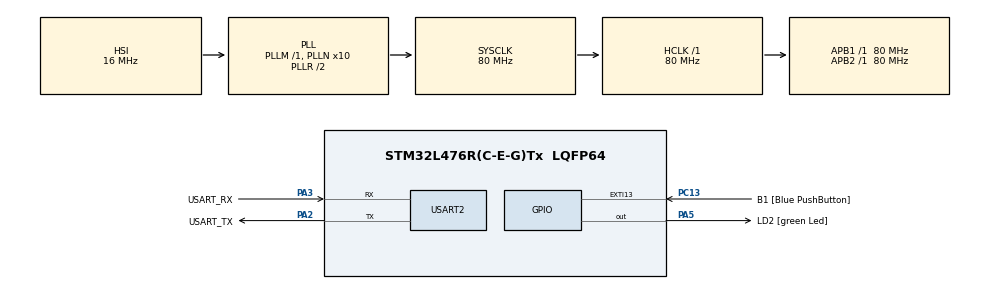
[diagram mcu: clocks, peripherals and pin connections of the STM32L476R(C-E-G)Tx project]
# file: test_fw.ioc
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Mcu.Family=STM32L4
Mcu.Name=STM32L476R(C-E-G)Tx
Mcu.Package=LQFP64
NVIC.PriorityGroup=NVIC_PRIORITYGROUP_4
PA13\ (JTMS-SWDIO).GPIO_Label=TMS
PA13\ (JTMS-SWDIO).Mode=Serial_Wire
PA13\ (JTMS-SWDIO).Signal=SYS_JTMS-SWDIO
PA14\ (JTCK-SWCLK).GPIO_Label=TCK
PA14\ (JTCK-SWCLK).Mode=Serial_Wire
PA14\ (JTCK-SWCLK).Signal=SYS_JTCK-SWCLK
PA2.GPIO_Label=USART_TX
PA2.GPIO_Mode=GPIO_MODE_AF_PP
PA2.GPIO_PuPd=GPIO_NOPULL
PA2.GPIO_Speed=GPIO_SPEED_FREQ_VERY_HIGH
PA2.Mode=Asynchronous
PA2.Signal=USART2_TX
PA3.GPIO_Label=USART_RX
PA3.GPIO_Mode=GPIO_MODE_AF_PP
PA3.GPIO_PuPd=GPIO_NOPULL
PA3.GPIO_Speed=GPIO_SPEED_FREQ_VERY_HIGH
PA3.Mode=Asynchronous
PA3.Signal=USART2_RX
PA5.GPIO_Label=LD2 [green Led]
PA5.GPIO_ModeDefaultOutputPP=GPIO_MODE_OUTPUT_PP
PA5.GPIO_PuPd=GPIO_NOPULL
PA5.GPIO_Speed=GPIO_SPEED_FREQ_LOW
PA5.Signal=GPIO_Output
PB3\ (JTDO-TRACESWO).GPIO_Label=SWO
PB3\ (JTDO-TRACESWO).Signal=SYS_JTDO-SWO
PC13.GPIO_Label=B1 [Blue PushButton]
PC13.GPIO_ModeDefaultEXTI=GPIO_MODE_IT_FALLING
PC13.GPIO_PuPd=GPIO_NOPULL
PC13.Signal=GPXTI13
PC14-OSC32_IN\ (PC14).Mode=LSE-External-Oscillator
PC14-OSC32_IN\ (PC14).Signal=RCC_OSC32_IN
PC15-OSC32_OUT\ (PC15).Mode=LSE-External-Oscillator
PC15-OSC32_OUT\ (PC15).Signal=RCC_OSC32_OUT
PH0-OSC_IN\ (PH0).Signal=RCC_OSC_IN
PH1-OSC_OUT\ (PH1).Signal=RCC_OSC_OUT
ProjectManager.HeapSize=0x200
ProjectManager.StackSize=0x400
ProjectManager.TargetToolchain=STM32CubeIDE
RCC.ADCFreq_Value=64000000
RCC.AHBFreq_Value=80000000
RCC.APB1Freq_Value=80000000
RCC.APB1TimFreq_Value=80000000
RCC.APB2Freq_Value=80000000
RCC.APB2TimFreq_Value=80000000
RCC.CortexFreq_Value=80000000
RCC.HCLKFreq_Value=80000000
RCC.HSE_VALUE=8000000
RCC.HSI_VALUE=16000000
RCC.MSI_VALUE=4000000
RCC.PLLN=10
RCC.PLLSourceVirtual=RCC_PLLSOURCE_HSI
RCC.PREFETCH_ENABLE=1
RCC.SYSCLKFreq_VALUE=80000000
RCC.SYSCLKSource=RCC_SYSCLKSOURCE_PLLCLK
RCC.USBFreq_Value=64000000
RCC.VCOOutputFreq_Value=160000000
USART2.VirtualMode-Asynchronous=VM_ASYNC
board=NUCLEO-L476RG

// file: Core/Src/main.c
/* USER CODE BEGIN Header */
/**
  ******************************************************************************
  * @file           : main.c
  * @brief          : Main program body
  ******************************************************************************
  * @attention
  *
  * <h2><center>&copy; Copyright (c) 2024 STMicroelectronics.
  * All rights reserved.</center></h2>
  *
  * This software component is licensed by ST under BSD 3-Clause license,
  * the "License"; You may not use this file except in compliance with the
  * License. You may obtain a copy of the License at:
  *                        opensource.org/licenses/BSD-3-Clause
  *
  ******************************************************************************
  */
/* USER CODE END Header */
#include "main.h"

UART_HandleTypeDef huart2;

void SystemClock_Config(void);
static void MX_GPIO_Init(void);
static void MX_USART2_UART_Init(void);

/* USER CODE BEGIN 0 */

void __attribute__((__section__(".mysection"))) protected_function(void)
{
	__HAL_FIREWALL_PREARM_DISABLE();
	Toggle_led();
	__HAL_FIREWALL_PREARM_ENABLE();

}

void __attribute__((__section__(".mysection"))) Toggle_led (void)
{
	uint32_t odr;

	/* get current Ouput Data Register value */
	odr = GPIOA->ODR;
	/* Set selected pins that were at low level, and reset ones that were high */
	GPIOA->BSRR = ((odr & GPIO_PIN_5) << 16u) | (~odr & GPIO_PIN_5);
}
/* USER CODE END 0 */

int main(void)
{

  /* MCU Configuration--------------------------------------------------------*/

  /* Reset of all peripherals, Initializes the Flash interface and the Systick. */
  HAL_Init();

  /* Configure the system clock */
  SystemClock_Config();

  /* Initialize all configured peripherals */
  MX_GPIO_Init();
  MX_USART2_UART_Init();
  /* USER CODE BEGIN 2 */
  {
	  FIREWALL_InitTypeDef fw_init;
	  fw_init.CodeSegmentStartAddress = 0x080fc000;
	  fw_init.CodeSegmentLength = 0x2000;

	  fw_init.NonVDataSegmentStartAddress = 0x080fe000;
	  fw_init.NonVDataSegmentLength = 0x200;

	  fw_init.VDataSegmentStartAddress = 0x2000FE00;
	  fw_init.VDataSegmentLength = 0x200;

	  HAL_FIREWALL_Config(&fw_init);

	  HAL_FIREWALL_EnableFirewall();
  }
  /* USER CODE END 2 */

  /* Infinite loop */
  while (1)
  {

    /* USER CODE BEGIN 3 */
	  // after running this code with enabling firewall
	  // comment protected_function()
	  // call Toggle_led outside protected_function
	  // it should not be toggled
	__disable_irq();
	protected_function();
	__enable_irq();
	HAL_Delay(500);
  }
  /* USER CODE END 3 */
}

void SystemClock_Config(void)
{
  RCC_OscInitTypeDef RCC_OscInitStruct = {0};
  RCC_ClkInitTypeDef RCC_ClkInitStruct = {0};
  RCC_PeriphCLKInitTypeDef PeriphClkInit = {0};

  /** Initializes the RCC Oscillators according to the specified parameters
  * in the RCC_OscInitTypeDef structure.
  */
  RCC_OscInitStruct.OscillatorType = RCC_OSCILLATORTYPE_HSI;
  RCC_OscInitStruct.HSIState = RCC_HSI_ON;
  RCC_OscInitStruct.HSICalibrationValue = RCC_HSICALIBRATION_DEFAULT;
  RCC_OscInitStruct.PLL.PLLState = RCC_PLL_ON;
  RCC_OscInitStruct.PLL.PLLSource = RCC_PLLSOURCE_HSI;
  RCC_OscInitStruct.PLL.PLLM = 1;
  RCC_OscInitStruct.PLL.PLLN = 10;
  RCC_OscInitStruct.PLL.PLLP = RCC_PLLP_DIV7;
  RCC_OscInitStruct.PLL.PLLQ = RCC_PLLQ_DIV2;
  RCC_OscInitStruct.PLL.PLLR = RCC_PLLR_DIV2;
  if (HAL_RCC_OscConfig(&RCC_OscInitStruct) != HAL_OK)
  {
    Error_Handler();
  }
  /** Initializes the CPU, AHB and APB buses clocks
  */
  RCC_ClkInitStruct.ClockType = RCC_CLOCKTYPE_HCLK|RCC_CLOCKTYPE_SYSCLK
                              |RCC_CLOCKTYPE_PCLK1|RCC_CLOCKTYPE_PCLK2;
  RCC_ClkInitStruct.SYSCLKSource = RCC_SYSCLKSOURCE_PLLCLK;
  RCC_ClkInitStruct.AHBCLKDivider = RCC_SYSCLK_DIV1;
  RCC_ClkInitStruct.APB1CLKDivider = RCC_HCLK_DIV1;
  RCC_ClkInitStruct.APB2CLKDivider = RCC_HCLK_DIV1;

  if (HAL_RCC_ClockConfig(&RCC_ClkInitStruct, FLASH_LATENCY_4) != HAL_OK)
  {
    Error_Handler();
  }
  PeriphClkInit.PeriphClockSelection = RCC_PERIPHCLK_USART2;
  PeriphClkInit.Usart2ClockSelection = RCC_USART2CLKSOURCE_PCLK1;
  if (HAL_RCCEx_PeriphCLKConfig(&PeriphClkInit) != HAL_OK)
  {
    Error_Handler();
  }
  /** Configure the main internal regulator output voltage
  */
  if (HAL_PWREx_ControlVoltageScaling(PWR_REGULATOR_VOLTAGE_SCALE1) != HAL_OK)
  {
    Error_Handler();
  }
}

static void MX_USART2_UART_Init(void)
{

  huart2.Instance = USART2;
  huart2.Init.BaudRate = 115200;
  huart2.Init.WordLength = UART_WORDLENGTH_8B;
  huart2.Init.StopBits = UART_STOPBITS_1;
  huart2.Init.Parity = UART_PARITY_NONE;
  huart2.Init.Mode = UART_MODE_TX_RX;
  huart2.Init.HwFlowCtl = UART_HWCONTROL_NONE;
  huart2.Init.OverSampling = UART_OVERSAMPLING_16;
  huart2.Init.OneBitSampling = UART_ONE_BIT_SAMPLE_DISABLE;
  huart2.AdvancedInit.AdvFeatureInit = UART_ADVFEATURE_NO_INIT;
  if (HAL_UART_Init(&huart2) != HAL_OK)
  {
    Error_Handler();
  }

}

static void MX_GPIO_Init(void)
{
  GPIO_InitTypeDef GPIO_InitStruct = {0};

  /* GPIO Ports Clock Enable */
  __HAL_RCC_GPIOC_CLK_ENABLE();
  __HAL_RCC_GPIOH_CLK_ENABLE();
  __HAL_RCC_GPIOA_CLK_ENABLE();
  __HAL_RCC_GPIOB_CLK_ENABLE();

  /*Configure GPIO pin Output Level */
  HAL_GPIO_WritePin(LD2_GPIO_Port, LD2_Pin, GPIO_PIN_RESET);

  /*Configure GPIO pin : B1_Pin */
  GPIO_InitStruct.Pin = B1_Pin;
  GPIO_InitStruct.Mode = GPIO_MODE_IT_FALLING;
  GPIO_InitStruct.Pull = GPIO_NOPULL;
  HAL_GPIO_Init(B1_GPIO_Port, &GPIO_InitStruct);

  /*Configure GPIO pin : LD2_Pin */
  GPIO_InitStruct.Pin = LD2_Pin;
  GPIO_InitStruct.Mode = GPIO_MODE_OUTPUT_PP;
  GPIO_InitStruct.Pull = GPIO_NOPULL;
  GPIO_InitStruct.Speed = GPIO_SPEED_FREQ_LOW;
  HAL_GPIO_Init(LD2_GPIO_Port, &GPIO_InitStruct);

}

void Error_Handler(void)
{
}

/************************ (C) COPYRIGHT STMicroelectronics *****END OF FILE****/
